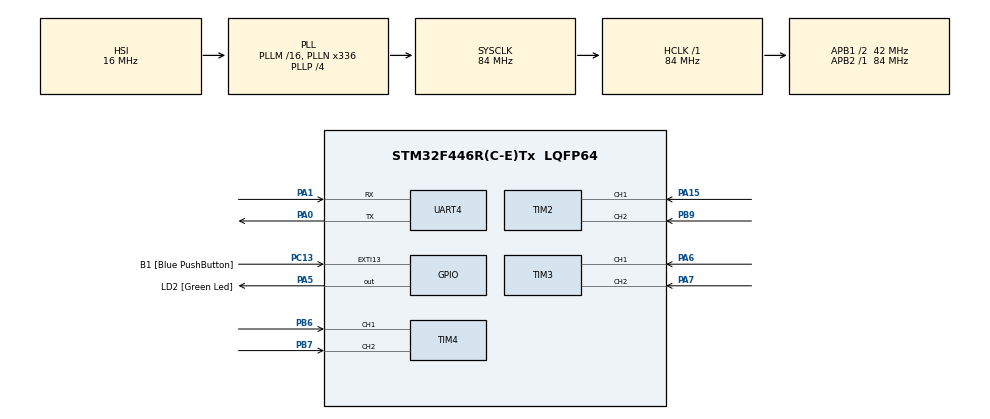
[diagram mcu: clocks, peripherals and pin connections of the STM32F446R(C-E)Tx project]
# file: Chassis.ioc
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Mcu.Family=STM32F4
Mcu.Name=STM32F446R(C-E)Tx
Mcu.Package=LQFP64
NVIC.PriorityGroup=NVIC_PRIORITYGROUP_0
PA0-WKUP.Mode=Asynchronous
PA0-WKUP.Signal=UART4_TX
PA1.Mode=Asynchronous
PA1.Signal=UART4_RX
PA13.GPIO_Label=TMS
PA13.Mode=Serial_Wire
PA13.Signal=SYS_JTMS-SWDIO
PA14.GPIO_Label=TCK
PA14.Mode=Serial_Wire
PA14.Signal=SYS_JTCK-SWCLK
PA15.Signal=S_TIM2_CH1_ETR
PA5.GPIO_Label=LD2 [Green Led]
PA5.Signal=GPIO_Output
PA6.Signal=S_TIM3_CH1
PA7.Signal=S_TIM3_CH2
PB3.GPIO_Label=SWO
PB3.Signal=SYS_JTDO-SWO
PB6.Signal=S_TIM4_CH1
PB7.Signal=S_TIM4_CH2
PB9.Signal=S_TIM2_CH2
PC13.GPIO_Label=B1 [Blue PushButton]
PC13.GPIO_ModeDefaultEXTI=GPIO_MODE_IT_FALLING
PC13.Signal=GPXTI13
PC14-OSC32_IN.Mode=LSE-External-Oscillator
PC14-OSC32_IN.Signal=RCC_OSC32_IN
PC15-OSC32_OUT.Mode=LSE-External-Oscillator
PC15-OSC32_OUT.Signal=RCC_OSC32_OUT
PH0-OSC_IN.Mode=HSE-External-Oscillator
PH0-OSC_IN.Signal=RCC_OSC_IN
PH1-OSC_OUT.Mode=HSE-External-Oscillator
PH1-OSC_OUT.Signal=RCC_OSC_OUT
ProjectManager.HeapSize=0x200
ProjectManager.StackSize=0x400
ProjectManager.TargetToolchain=STM32CubeIDE
RCC.48MHZClocksFreq_Value=84000000
RCC.AHBFreq_Value=84000000
RCC.APB1CLKDivider=RCC_HCLK_DIV2
RCC.APB1Freq_Value=42000000
RCC.APB1TimFreq_Value=84000000
RCC.APB2Freq_Value=84000000
RCC.APB2TimFreq_Value=84000000
RCC.CortexFreq_Value=84000000
RCC.FLatency-AdvancedSettings=FLASH_LATENCY_2
RCC.HCLKFreq_Value=84000000
RCC.HSE_VALUE=8000000
RCC.HSI_VALUE=16000000
RCC.PLLN=336
RCC.PLLP=RCC_PLLP_DIV4
RCC.SYSCLKFreq_VALUE=84000000
RCC.SYSCLKSource=RCC_SYSCLKSOURCE_PLLCLK
RCC.USBFreq_Value=168000000
RCC.VCOOutputFreq_Value=336000000
SH.S_TIM2_CH1_ETR.0=TIM2_CH1,Encoder_Interface
SH.S_TIM2_CH2.0=TIM2_CH2,Encoder_Interface
SH.S_TIM3_CH1.0=TIM3_CH1,Encoder_Interface
SH.S_TIM3_CH2.0=TIM3_CH2,Encoder_Interface
SH.S_TIM4_CH1.0=TIM4_CH1,Encoder_Interface
SH.S_TIM4_CH2.0=TIM4_CH2,Encoder_Interface
TIM2.IC1Filter=5
TIM2.IC2Filter=5
TIM3.EncoderMode=TIM_ENCODERMODE_TI12
TIM3.IC1Filter=5
TIM3.IC2Filter=5
TIM4.EncoderMode=TIM_ENCODERMODE_TI12
TIM4.IC1Filter=5
TIM4.IC2Filter=5
UART4.VirtualMode=Asynchronous
board=NUCLEO-F446RE

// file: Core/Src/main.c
/* USER CODE BEGIN Header */
/**
  ******************************************************************************
  * @file           : main.c
  * @brief          : Main program body
  ******************************************************************************
  * @attention
  *
  * Copyright (c) 2025 STMicroelectronics.
  * All rights reserved.
  *
  * This software is licensed under terms that can be found in the LICENSE file
  * in the root directory of this software component.
  * If no LICENSE file comes with this software, it is provided AS-IS.
  *
  ******************************************************************************
  */
/* USER CODE END Header */
#include "main.h",

/* USER CODE BEGIN Includes */
#include<stdio.h>
#include<inttypes.h>

#include <stdbool.h>
/* USER CODE END Includes */

/* USER CODE BEGIN PTD */
uint8_t rxbuff[16];

int slow=75;

int fast=400;

int Buff1=60;

int Buff2=-60;

int BuffP=80;

int BuffN=-80;

int32_t lx, ly, rx, ry, cro, squ, tri, cir, up, down, left, right, ll1, rr1, ll2, rr2=0;
/* USER CODE END PTD */

TIM_HandleTypeDef htim2;
TIM_HandleTypeDef htim3;
TIM_HandleTypeDef htim4;

UART_HandleTypeDef huart4;

void SystemClock_Config(void);
static void MX_GPIO_Init(void);
static void MX_TIM2_Init(void);
static void MX_TIM3_Init(void);
static void MX_TIM4_Init(void);
static void MX_UART4_Init(void);

int main(void)
{

  /* MCU Configuration--------------------------------------------------------*/

  /* Reset of all peripherals, Initializes the Flash interface and the Systick. */
  HAL_Init();

  /* Configure the system clock */
  SystemClock_Config();

  /* Initialize all configured peripherals */
  MX_GPIO_Init();
  MX_TIM2_Init();
  MX_TIM3_Init();
  MX_TIM4_Init();
  MX_UART4_Init();
  /* USER CODE BEGIN 2 */
  HAL_UART_Receive(&huart4, rxbuff, 64,1000);
  /* USER CODE END 2 */

  /* Infinite loop */
  while (1)
    {

      /* USER CODE BEGIN 3 */
  	  HAL_StatusTypeDef status;
  	  status=HAL_UART_Receive(&huart4, rxbuff,64,1000);
  	  if (status == HAL_OK)
  	  {
  		  	  	  	  // Convert the received bytes to signed integers
  	  	  	 	 	   lx = (rxbuff[1] & 0x80) ? (int32_t)rxbuff[1] - 256 : (int32_t)rxbuff[1];
  	  	  	 	 	   ly = (rxbuff[2] & 0x80) ? (int32_t)rxbuff[2] - 256 : (int32_t)rxbuff[2];
  	  	  	 	 	   rx = (rxbuff[3] & 0x80) ? (int32_t)rxbuff[3] - 256 : (int32_t)rxbuff[3];
  	  	  	 	 	   ry = (rxbuff[4] & 0x80) ? (int32_t)rxbuff[4] - 256 : (int32_t)rxbuff[4];
  	  	  	 	 	   cro= (rxbuff[5] & 0x80) ? (int32_t)rxbuff[5] - 256 : (int32_t)rxbuff[5];
  	  	  	 	 	   squ= (rxbuff[6] & 0x80) ? (int32_t)rxbuff[6] - 256 : (int32_t)rxbuff[6];
  	  	  	 	 	   tri= (rxbuff[7] & 0x80) ? (int32_t)rxbuff[7] - 256 : (int32_t)rxbuff[7];
  	  	  	 	 	   cir= (rxbuff[8] & 0x80) ? (int32_t)rxbuff[8] - 256 : (int32_t)rxbuff[8];
  	  	  	 	 	   up= (rxbuff[9] & 0x80) ? (int32_t)rxbuff[9] - 256 : (int32_t)rxbuff[9];
  	  	  	 	 	   down= (rxbuff[10] & 0x80) ? (int32_t)rxbuff[10] - 256 : (int32_t)rxbuff[10];
  	  	  	 	 	   left= (rxbuff[11] & 0x80) ? (int32_t)rxbuff[11] - 256 : (int32_t)rxbuff[11];
  	  	  	 	 	   right=(rxbuff[12] & 0x80) ? (int32_t)rxbuff[12] - 256 : (int32_t)rxbuff[12];
  	  	  	 	 	   ll1= (rxbuff[13] & 0x80) ? (int32_t)rxbuff[13] - 256 : (int32_t)rxbuff[13];
  	  	  	 	 	   ll2= (rxbuff[14] & 0x80) ? (int32_t)rxbuff[14] - 256 : (int32_t)rxbuff[14];
  	  	  	 	 	   rr1= (rxbuff[15] & 0x80) ? (int32_t)rxbuff[15] - 256 : (int32_t)rxbuff[15];
  	  	  	 	 	   rr2= (rxbuff[16] & 0x80) ? (int32_t)rxbuff[16] - 256 : (int32_t)rxbuff[16];
  	  	  	 	 	   // Print the received values
  	  	  	 	 	printf("Received Integers: %ld %ld %ld %ld %ld %ld %ld %ld\r\n", lx, ly, rx, ry, cro, squ, tri, cir);
  	  }
  	  else
  	  {
  		  ry = 0;
  	  	  rx = 0;
  	  	  lx = 0;
  	  	  ly = 0;
  	  	  cro = 0;
  	  	  squ = 0;
  	  	  tri = 0;
  	  	  cir = 0;
  	  	  up = 0;
  	  	  down = 0;
  	  	  left = 0;
  	  	  right = 0;
  	  	  ll1=0;
  	  	  ll2=0;
  	  	  rr1=0;
  	  	  rr2=0;
  	  }
  //	uint16_t dutycycle;

  //	 static int step_count = 0;
  //	 static int total_steps = 200;

  	 }
    }
    /* USER CODE END 3 */

void SystemClock_Config(void)
{
  RCC_OscInitTypeDef RCC_OscInitStruct = {0};
  RCC_ClkInitTypeDef RCC_ClkInitStruct = {0};

  /** Configure the main internal regulator output voltage
  */
  __HAL_RCC_PWR_CLK_ENABLE();
  __HAL_PWR_VOLTAGESCALING_CONFIG(PWR_REGULATOR_VOLTAGE_SCALE3);

  /** Initializes the RCC Oscillators according to the specified parameters
  * in the RCC_OscInitTypeDef structure.
  */
  RCC_OscInitStruct.OscillatorType = RCC_OSCILLATORTYPE_HSI;
  RCC_OscInitStruct.HSIState = RCC_HSI_ON;
  RCC_OscInitStruct.HSICalibrationValue = RCC_HSICALIBRATION_DEFAULT;
  RCC_OscInitStruct.PLL.PLLState = RCC_PLL_ON;
  RCC_OscInitStruct.PLL.PLLSource = RCC_PLLSOURCE_HSI;
  RCC_OscInitStruct.PLL.PLLM = 16;
  RCC_OscInitStruct.PLL.PLLN = 336;
  RCC_OscInitStruct.PLL.PLLP = RCC_PLLP_DIV4;
  RCC_OscInitStruct.PLL.PLLQ = 2;
  RCC_OscInitStruct.PLL.PLLR = 2;
  if (HAL_RCC_OscConfig(&RCC_OscInitStruct) != HAL_OK)
  {
    Error_Handler();
  }

  /** Initializes the CPU, AHB and APB buses clocks
  */
  RCC_ClkInitStruct.ClockType = RCC_CLOCKTYPE_HCLK|RCC_CLOCKTYPE_SYSCLK
                              |RCC_CLOCKTYPE_PCLK1|RCC_CLOCKTYPE_PCLK2;
  RCC_ClkInitStruct.SYSCLKSource = RCC_SYSCLKSOURCE_PLLCLK;
  RCC_ClkInitStruct.AHBCLKDivider = RCC_SYSCLK_DIV1;
  RCC_ClkInitStruct.APB1CLKDivider = RCC_HCLK_DIV2;
  RCC_ClkInitStruct.APB2CLKDivider = RCC_HCLK_DIV1;

  if (HAL_RCC_ClockConfig(&RCC_ClkInitStruct, FLASH_LATENCY_2) != HAL_OK)
  {
    Error_Handler();
  }
}

static void MX_TIM2_Init(void)
{

  TIM_Encoder_InitTypeDef sConfig = {0};
  TIM_MasterConfigTypeDef sMasterConfig = {0};

  htim2.Instance = TIM2;
  htim2.Init.Prescaler = 0;
  htim2.Init.CounterMode = TIM_COUNTERMODE_UP;
  htim2.Init.Period = 4294967295;
  htim2.Init.ClockDivision = TIM_CLOCKDIVISION_DIV1;
  htim2.Init.AutoReloadPreload = TIM_AUTORELOAD_PRELOAD_DISABLE;
  sConfig.EncoderMode = TIM_ENCODERMODE_TI1;
  sConfig.IC1Polarity = TIM_ICPOLARITY_RISING;
  sConfig.IC1Selection = TIM_ICSELECTION_DIRECTTI;
  sConfig.IC1Prescaler = TIM_ICPSC_DIV1;
  sConfig.IC1Filter = 5;
  sConfig.IC2Polarity = TIM_ICPOLARITY_RISING;
  sConfig.IC2Selection = TIM_ICSELECTION_DIRECTTI;
  sConfig.IC2Prescaler = TIM_ICPSC_DIV1;
  sConfig.IC2Filter = 5;
  if (HAL_TIM_Encoder_Init(&htim2, &sConfig) != HAL_OK)
  {
    Error_Handler();
  }
  sMasterConfig.MasterOutputTrigger = TIM_TRGO_RESET;
  sMasterConfig.MasterSlaveMode = TIM_MASTERSLAVEMODE_DISABLE;
  if (HAL_TIMEx_MasterConfigSynchronization(&htim2, &sMasterConfig) != HAL_OK)
  {
    Error_Handler();
  }

}

static void MX_TIM3_Init(void)
{

  TIM_Encoder_InitTypeDef sConfig = {0};
  TIM_MasterConfigTypeDef sMasterConfig = {0};

  htim3.Instance = TIM3;
  htim3.Init.Prescaler = 0;
  htim3.Init.CounterMode = TIM_COUNTERMODE_UP;
  htim3.Init.Period = 65535;
  htim3.Init.ClockDivision = TIM_CLOCKDIVISION_DIV1;
  htim3.Init.AutoReloadPreload = TIM_AUTORELOAD_PRELOAD_DISABLE;
  sConfig.EncoderMode = TIM_ENCODERMODE_TI12;
  sConfig.IC1Polarity = TIM_ICPOLARITY_RISING;
  sConfig.IC1Selection = TIM_ICSELECTION_DIRECTTI;
  sConfig.IC1Prescaler = TIM_ICPSC_DIV1;
  sConfig.IC1Filter = 5;
  sConfig.IC2Polarity = TIM_ICPOLARITY_RISING;
  sConfig.IC2Selection = TIM_ICSELECTION_DIRECTTI;
  sConfig.IC2Prescaler = TIM_ICPSC_DIV1;
  sConfig.IC2Filter = 5;
  if (HAL_TIM_Encoder_Init(&htim3, &sConfig) != HAL_OK)
  {
    Error_Handler();
  }
  sMasterConfig.MasterOutputTrigger = TIM_TRGO_RESET;
  sMasterConfig.MasterSlaveMode = TIM_MASTERSLAVEMODE_DISABLE;
  if (HAL_TIMEx_MasterConfigSynchronization(&htim3, &sMasterConfig) != HAL_OK)
  {
    Error_Handler();
  }

}

static void MX_TIM4_Init(void)
{

  TIM_Encoder_InitTypeDef sConfig = {0};
  TIM_MasterConfigTypeDef sMasterConfig = {0};

  htim4.Instance = TIM4;
  htim4.Init.Prescaler = 0;
  htim4.Init.CounterMode = TIM_COUNTERMODE_UP;
  htim4.Init.Period = 65535;
  htim4.Init.ClockDivision = TIM_CLOCKDIVISION_DIV1;
  htim4.Init.AutoReloadPreload = TIM_AUTORELOAD_PRELOAD_DISABLE;
  sConfig.EncoderMode = TIM_ENCODERMODE_TI12;
  sConfig.IC1Polarity = TIM_ICPOLARITY_RISING;
  sConfig.IC1Selection = TIM_ICSELECTION_DIRECTTI;
  sConfig.IC1Prescaler = TIM_ICPSC_DIV1;
  sConfig.IC1Filter = 5;
  sConfig.IC2Polarity = TIM_ICPOLARITY_RISING;
  sConfig.IC2Selection = TIM_ICSELECTION_DIRECTTI;
  sConfig.IC2Prescaler = TIM_ICPSC_DIV1;
  sConfig.IC2Filter = 5;
  if (HAL_TIM_Encoder_Init(&htim4, &sConfig) != HAL_OK)
  {
    Error_Handler();
  }
  sMasterConfig.MasterOutputTrigger = TIM_TRGO_RESET;
  sMasterConfig.MasterSlaveMode = TIM_MASTERSLAVEMODE_DISABLE;
  if (HAL_TIMEx_MasterConfigSynchronization(&htim4, &sMasterConfig) != HAL_OK)
  {
    Error_Handler();
  }

}

static void MX_UART4_Init(void)
{

  huart4.Instance = UART4;
  huart4.Init.BaudRate = 115200;
  huart4.Init.WordLength = UART_WORDLENGTH_8B;
  huart4.Init.StopBits = UART_STOPBITS_1;
  huart4.Init.Parity = UART_PARITY_NONE;
  huart4.Init.Mode = UART_MODE_TX_RX;
  huart4.Init.HwFlowCtl = UART_HWCONTROL_NONE;
  huart4.Init.OverSampling = UART_OVERSAMPLING_16;
  if (HAL_UART_Init(&huart4) != HAL_OK)
  {
    Error_Handler();
  }

}

static void MX_GPIO_Init(void)
{
  GPIO_InitTypeDef GPIO_InitStruct = {0};

  /* GPIO Ports Clock Enable */
  __HAL_RCC_GPIOC_CLK_ENABLE();
  __HAL_RCC_GPIOH_CLK_ENABLE();
  __HAL_RCC_GPIOA_CLK_ENABLE();
  __HAL_RCC_GPIOB_CLK_ENABLE();

  /*Configure GPIO pin Output Level */
  HAL_GPIO_WritePin(LD2_GPIO_Port, LD2_Pin, GPIO_PIN_RESET);

  /*Configure GPIO pin : B1_Pin */
  GPIO_InitStruct.Pin = B1_Pin;
  GPIO_InitStruct.Mode = GPIO_MODE_IT_FALLING;
  GPIO_InitStruct.Pull = GPIO_NOPULL;
  HAL_GPIO_Init(B1_GPIO_Port, &GPIO_InitStruct);

  /*Configure GPIO pin : LD2_Pin */
  GPIO_InitStruct.Pin = LD2_Pin;
  GPIO_InitStruct.Mode = GPIO_MODE_OUTPUT_PP;
  GPIO_InitStruct.Pull = GPIO_NOPULL;
  GPIO_InitStruct.Speed = GPIO_SPEED_FREQ_LOW;
  HAL_GPIO_Init(LD2_GPIO_Port, &GPIO_InitStruct);

}

void Error_Handler(void)
{
  __disable_irq();
  while (1)
  {
  }
}
